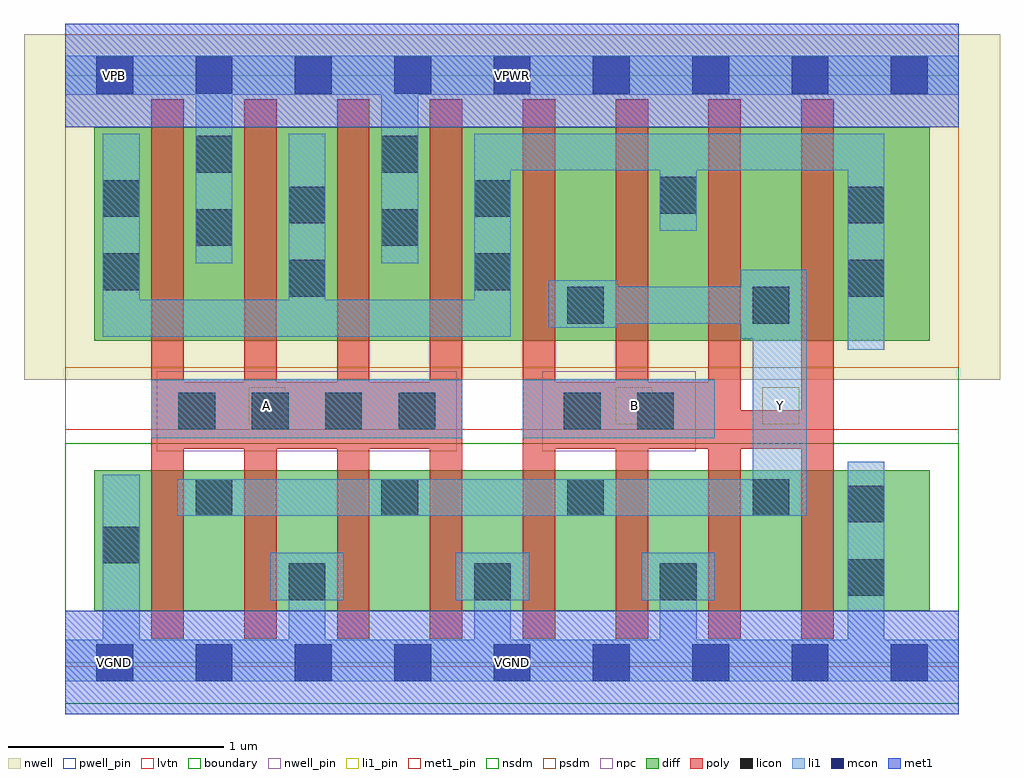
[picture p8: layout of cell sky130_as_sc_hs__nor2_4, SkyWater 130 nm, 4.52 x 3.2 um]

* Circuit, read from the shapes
.subckt sky130_as_sc_hs__nor2_4 A B VGND VNB VPB VPWR Y
XM1 Y A VGND VNB sky130_fd_pr__nfet_01v8_lvt w=0.65 l=0.15 m=4
XM2 Y B VGND VNB sky130_fd_pr__nfet_01v8_lvt w=0.65 l=0.15 m=4
XM3 VPWR A n1 VPB sky130_fd_pr__pfet_01v8 w=0.99 l=0.15 m=4
XM4 Y B n1 VPB sky130_fd_pr__pfet_01v8 w=0.99 l=0.15 m=4
.ends

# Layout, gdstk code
import gdstk
lib = gdstk.Library(unit=1e-6, precision=1e-09)
def R(c, l, rs):  # rectangles x0, y0, x1, y1
    for r in rs: c.add(gdstk.rectangle(r[:2], r[2:], *l))
def A(c, l, x, y, w, h, nx, ny, dx, dy):  # array of equal rectangles
    R(c, l, [(x+i*dx, y+j*dy, x+i*dx+w, y+j*dy+h) for i in range(nx) for j in range(ny)])
nwell_pin = (64, 16)
nwell = (64, 20)
diff = (65, 20)
poly = (66, 20)
licon = (66, 44)
li1_pin = (67, 16)
li1 = (67, 20)
mcon = (67, 44)
met1_pin = (68, 16)
met1 = (68, 20)
nsdm = (93, 44)
psdm = (94, 20)
npc = (95, 20)
pwell_pin = (122, 16)
lvtn = (125, 44)
boundary = (235, 4)

sky130_as_sc_hs__nor2_4 = lib.new_cell('sky130_as_sc_hs__nor2_4')
R(sky130_as_sc_hs__nor2_4, nwell_pin, [(0.145,2.635,0.315,2.805)])
R(sky130_as_sc_hs__nor2_4, nwell, [(-0.19,1.31,4.33,2.91)])
R(sky130_as_sc_hs__nor2_4, diff, [(0.135,0.24,4.005,0.89), (0.135,1.49,4.005,2.48)])
A(sky130_as_sc_hs__nor2_4, poly, 0.4, 0.11, 0.15, 0.88, 8, 1, 0.43, 0)
A(sky130_as_sc_hs__nor2_4, poly, 0.4, 1.3, 0.15, 1.31, 7, 1, 0.43, 0)
R(sky130_as_sc_hs__nor2_4, poly, [(0.4,0.99,1.84,1.3), (2.12,0.99,3.56,1.17), (2.12,1.17,3.13,1.3), (3.41,1.17,3.56,2.61)])
A(sky130_as_sc_hs__nor2_4, licon, 1.035, 0.29, 0.17, 0.17, 3, 1, 0.86, 0)
A(sky130_as_sc_hs__nor2_4, licon, 0.605, 0.68, 0.17, 0.17, 4, 1, 0.86, 0)
A(sky130_as_sc_hs__nor2_4, licon, 0.525, 1.08, 0.17, 0.17, 4, 1, 0.34, 0)
R(sky130_as_sc_hs__nor2_4, licon, [(3.625,0.31,3.795,0.48), (0.175,0.46,0.345,0.63), (3.625,0.65,3.795,0.82), (2.31,1.08,2.48,1.25), (2.65,1.08,2.82,1.25), (2.325,1.57,2.495,1.74), (3.185,1.57,3.355,1.74), (1.035,1.695,1.205,1.865), (3.625,1.695,3.795,1.865), (0.175,1.725,0.345,1.895), (1.895,1.725,2.065,1.895), (0.605,1.93,0.775,2.1), (1.465,1.93,1.635,2.1), (1.035,2.035,1.205,2.205), (3.625,2.035,3.795,2.205), (0.175,2.065,0.345,2.235), (1.895,2.065,2.065,2.235), (2.755,2.08,2.925,2.25), (0.605,2.27,0.775,2.44), (1.465,2.27,1.635,2.44)])
R(sky130_as_sc_hs__nor2_4, li1_pin, [(0.85,1.105,1.02,1.275), (2.55,1.105,2.72,1.275), (3.23,1.105,3.4,1.275)])
A(sky130_as_sc_hs__nor2_4, li1, 1.035, 0.105, 0.17, 0.185, 3, 1, 0.86, 0)
A(sky130_as_sc_hs__nor2_4, li1, 0.95, 0.29, 0.34, 0.22, 3, 1, 0.86, 0)
R(sky130_as_sc_hs__nor2_4, li1, [(0,-0.085,4.14,0.105), (0.175,0.105,0.345,0.87), (3.625,0.105,3.795,0.93), (0.52,0.68,3.435,0.85), (3.185,0.85,3.435,1.5), (0.4,1.04,1.84,1.31), (2.12,1.04,3.01,1.31), (3.625,1.45,3.795,2.28), (3.13,1.5,3.435,1.57), (0.175,1.51,2.065,1.68), (2.24,1.55,2.56,1.57), (2.24,1.57,3.435,1.74), (0.175,1.68,0.345,2.45), (1.035,1.68,1.205,2.45), (1.895,1.68,2.065,2.28), (2.24,1.74,2.56,1.77), (3.13,1.74,3.435,1.82), (0.605,1.85,0.775,2.63), (1.465,1.85,1.635,2.63), (2.755,2,2.925,2.28), (1.895,2.28,3.795,2.45), (0,2.63,4.14,2.81)])
A(sky130_as_sc_hs__nor2_4, mcon, 0.145, -0.085, 0.17, 0.17, 9, 2, 0.46, 2.72)
R(sky130_as_sc_hs__nor2_4, met1_pin, [(0,-0.24,4.14,0.24), (0.145,-0.085,0.315,0.085), (0,2.48,4.14,2.96), (0.145,2.635,0.315,2.805)])
R(sky130_as_sc_hs__nor2_4, met1, [(0,-0.24,4.14,0.24), (0,2.48,4.14,2.96)])
R(sky130_as_sc_hs__nor2_4, nsdm, [(0,-0.19,4.14,1.015)])
R(sky130_as_sc_hs__nor2_4, psdm, [(0,1.365,4.14,2.91)])
R(sky130_as_sc_hs__nor2_4, npc, [(0.425,0.98,1.815,1.35), (2.21,0.98,2.92,1.35)])
R(sky130_as_sc_hs__nor2_4, pwell_pin, [(0.145,-0.085,0.315,0.085)])
R(sky130_as_sc_hs__nor2_4, lvtn, [(0,-0.02,4.14,1.08)])
R(sky130_as_sc_hs__nor2_4, boundary, [(0,0,4.14,2.72)])
sky130_as_sc_hs__nor2_4.add(gdstk.Label('VPB', (0.23,2.72), layer=64, texttype=5))
sky130_as_sc_hs__nor2_4.add(gdstk.Label('VPB', (0.23,2.72), layer=64, texttype=5))
sky130_as_sc_hs__nor2_4.add(gdstk.Label('VGND', (0.23,0), layer=68, texttype=5))
sky130_as_sc_hs__nor2_4.add(gdstk.Label('VGND', (2.07,0), layer=68, texttype=5))
sky130_as_sc_hs__nor2_4.add(gdstk.Label('VPWR', (0.23,2.72), layer=68, texttype=5))
sky130_as_sc_hs__nor2_4.add(gdstk.Label('VPWR', (2.07,2.72), layer=68, texttype=5))
sky130_as_sc_hs__nor2_4.add(gdstk.Label('VNB', (0.23,0), layer=64, texttype=59))
sky130_as_sc_hs__nor2_4.add(gdstk.Label('VNB', (0.23,0), layer=64, texttype=59))
sky130_as_sc_hs__nor2_4.add(gdstk.Label('Y', (3.315,1.19), layer=67, texttype=5))
sky130_as_sc_hs__nor2_4.add(gdstk.Label('Y', (3.315,1.19), layer=67, texttype=5))
sky130_as_sc_hs__nor2_4.add(gdstk.Label('B', (2.635,1.19), layer=67, texttype=5))
sky130_as_sc_hs__nor2_4.add(gdstk.Label('B', (2.635,1.19), layer=67, texttype=5))
sky130_as_sc_hs__nor2_4.add(gdstk.Label('A', (0.935,1.19), layer=67, texttype=5))
sky130_as_sc_hs__nor2_4.add(gdstk.Label('A', (0.935,1.19), layer=67, texttype=5))

lib.write_gds('sky130_as_sc_hs__nor2_4.gds')
